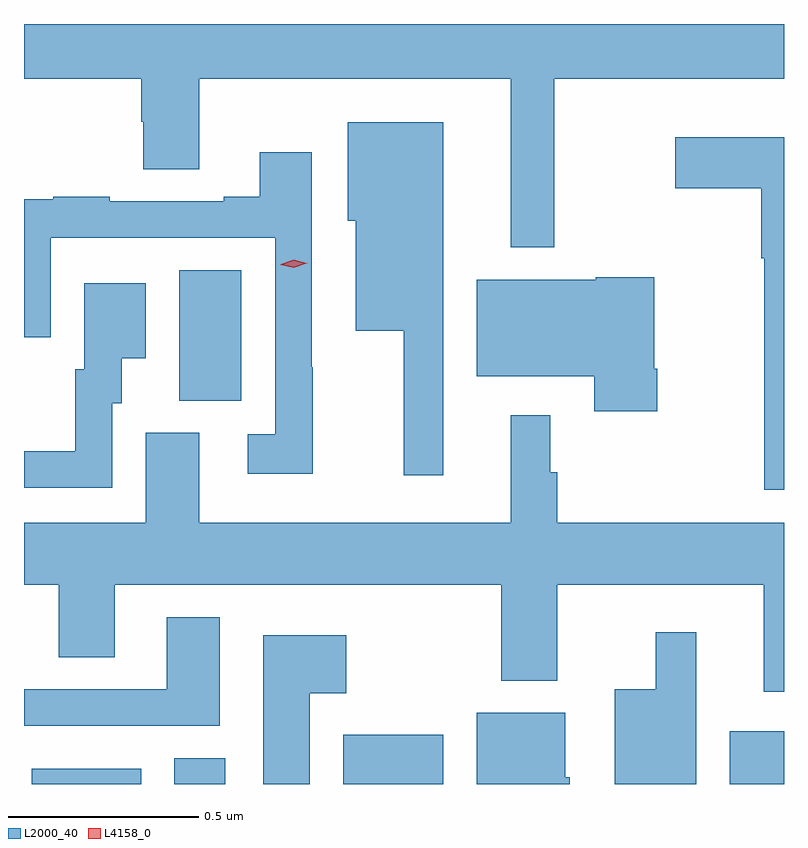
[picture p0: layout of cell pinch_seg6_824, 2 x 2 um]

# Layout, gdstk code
import gdstk
lib = gdstk.Library(unit=1e-6, precision=1e-09)
def R(c, l, rs):  # rectangles x0, y0, x1, y1
    for r in rs: c.add(gdstk.rectangle(r[:2], r[2:], *l))
def P(c, l, *ps):  # polygons
    for p in ps: c.add(gdstk.Polygon(p, *l))
L2000_40 = (2000, 40)
L4158_0 = (4158, 0)

pinch_seg6_824 = lib.new_cell('pinch_seg6_824')
R(pinch_seg6_824, L2000_40, [(149.657,981.444,149.944,981.484), (150.032,981.444,150.166,981.512), (150.476,981.444,150.739,981.574), (151.493,981.444,151.636,981.583), (150.044,982.453,150.208,982.796)])
P(pinch_seg6_824, L2000_40, [(151.031,983.3),(151.636,983.3),(151.636,983.444),(149.636,983.444),(149.636,983.3),(149.945,983.3),(149.945,983.187),(149.95,983.187),(149.95,983.062),(150.097,983.062),(150.097,983.3),(150.917,983.3),(150.917,982.856),(151.031,982.856)],
  [(150.739,983.185),(150.488,983.185),(150.488,982.926),(150.509,982.926),(150.509,982.637),(150.635,982.637),(150.635,982.257),(150.739,982.257)],
  [(151.636,983.146),(151.35,983.146),(151.35,983.012),(151.576,983.012),(151.576,982.828),(151.584,982.828),(151.584,982.218),(151.636,982.218)],
  [(150.396,982.541),(150.393,982.541),(150.393,983.107),(150.257,983.107),(150.257,982.99),(150.161,982.99),(150.161,982.977),(149.861,982.977),(149.861,982.99),(149.713,982.99),(149.713,982.983),(149.636,982.983),(149.636,982.62),(149.706,982.62),(149.706,982.881),(150.297,982.881),(150.297,982.365),(150.225,982.365),(150.225,982.26),(150.396,982.26)],
  [(151.302,982.537),(151.294,982.537),(151.294,982.777),(151.14,982.777),(151.14,982.771),(150.827,982.771),(150.827,982.517),(151.136,982.517),(151.136,982.425),(151.302,982.425)],
  [(149.868,982.446),(149.893,982.446),(149.893,982.565),(149.956,982.565),(149.956,982.762),(149.795,982.762),(149.795,982.536),(149.771,982.536),(149.771,982.32),(149.636,982.32),(149.636,982.224),(149.868,982.224)],
  [(151.636,982.132),(151.039,982.132),(151.039,982.265),(151.021,982.265),(151.021,982.414),(150.917,982.414),(150.917,982.132),(150.097,982.132),(150.097,982.368),(149.957,982.368),(149.957,982.132),(149.636,982.132),(149.636,981.968),(149.728,981.968),(149.728,981.778),(149.875,981.778),(149.875,981.968),(150.892,981.968),(150.892,981.716),(151.039,981.716),(151.039,981.968),(151.583,981.968),(151.583,981.687),(151.636,981.687)],
  [(150.151,981.883),(150.011,981.883),(150.011,981.693),(149.636,981.693),(149.636,981.597),(150.151,981.597)],
  [(151.405,981.844),(151.299,981.844),(151.299,981.694),(151.19,981.694),(151.19,981.444),(151.405,981.444)],
  [(150.388,981.683),(150.484,981.683),(150.484,981.835),(150.266,981.835),(150.266,981.444),(150.388,981.444)],
  [(151.072,981.462),(151.06,981.462),(151.06,981.631),(150.827,981.631),(150.827,981.444),(151.072,981.444)])
P(pinch_seg6_824, L4158_0, [(150.346,982.803),(150.312,982.811),(150.312,982.811),(150.312,982.812),(150.346,982.823),(150.38,982.814),(150.381,982.814),(150.38,982.814)])

lib.write_gds('pinch_seg6_824.gds')
